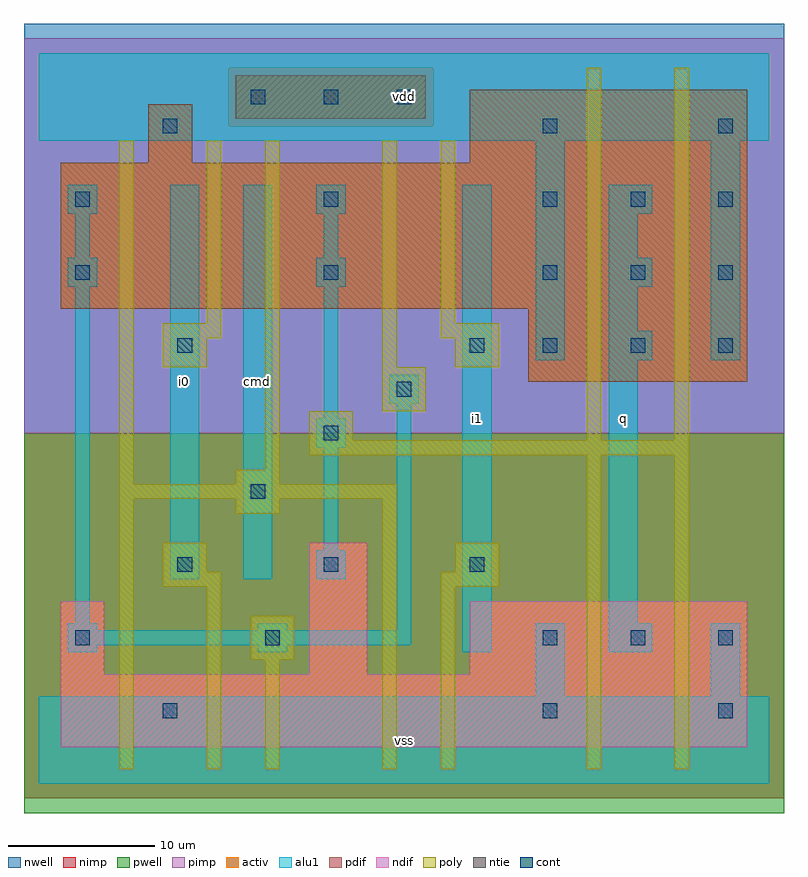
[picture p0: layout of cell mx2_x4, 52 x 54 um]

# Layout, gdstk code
import gdstk
lib = gdstk.Library(unit=1e-6, precision=1e-09)
def R(c, l, rs):  # rectangles x0, y0, x1, y1
    for r in rs: c.add(gdstk.rectangle(r[:2], r[2:], *l))
def A(c, l, x, y, w, h, nx, ny, dx, dy):  # array of equal rectangles
    R(c, l, [(x+i*dx, y+j*dy, x+i*dx+w, y+j*dy+h) for i in range(nx) for j in range(ny)])
ndif = (3, 0)
pdif = (4, 0)
ntie = (5, 0)
cont = (25, 0)
pwell = (41, 0)
nwell = (42, 0)
activ = (43, 0)
pimp = (44, 0)
nimp = (45, 0)
poly = (46, 0)
alu1 = (49, 0)

mx2_x4 = lib.new_cell('mx2_x4')
R(mx2_x4, ndif, [(1.5,2.5,48.5,7.5), (1.5,7.5,4.5,12.5), (18.5,7.5,22.5,16.5), (29.5,7.5,48.5,12.5)])
R(mx2_x4, pdif, [(33.5,27.5,48.5,32.5), (1.5,32.5,48.5,42.5), (7.5,42.5,10.5,46.5), (29.5,42.5,48.5,47.5)])
R(mx2_x4, ntie, [(13.5,45.5,26.5,48.5)])
A(mx2_x4, cont, 34.5, 9.5, 1, 1, 3, 2, 6, 20)
A(mx2_x4, cont, 9.5, 14.5, 1, 1, 3, 1, 10, 0)
A(mx2_x4, cont, 34.5, 34.5, 1, 1, 3, 2, 6, 5)
A(mx2_x4, cont, 14.5, 46.5, 1, 1, 3, 1, 5, 0)
R(mx2_x4, cont, [(8.5,4.5,9.5,5.5), (34.5,4.5,35.5,5.5), (46.5,4.5,47.5,5.5), (2.5,9.5,3.5,10.5), (15.5,9.5,16.5,10.5), (14.5,19.5,15.5,20.5), (19.5,23.5,20.5,24.5), (24.5,26.5,25.5,27.5), (9.5,29.5,10.5,30.5), (29.5,29.5,30.5,30.5), (2.5,34.5,3.5,35.5), (19.5,34.5,20.5,35.5), (2.5,39.5,3.5,40.5), (19.5,39.5,20.5,40.5), (8.5,44.5,9.5,45.5), (34.5,44.5,35.5,45.5), (46.5,44.5,47.5,45.5)])
R(mx2_x4, pwell, [(-1,-2,51,24)])
R(mx2_x4, nwell, [(-1,24,51,52)])
R(mx2_x4, activ, [(1.5,2.5,48.5,7.5), (1.5,7.5,4.5,12.5), (18.5,7.5,22.5,16.5), (29.5,7.5,48.5,12.5), (33.5,27.5,48.5,32.5), (1.5,32.5,48.5,42.5), (7.5,42.5,10.5,46.5), (29.5,42.5,48.5,47.5), (13.5,45.5,26.5,48.5)])
R(mx2_x4, pimp, [(-1,24,51,45), (-1,45,13,49), (27,45,51,49), (-1,49,51,51)])
R(mx2_x4, nimp, [(-1,-1,51,24), (13,45,27,49)])
R(mx2_x4, poly, [(5.5,1,6.5,19.5), (11.5,1,12.5,13.5), (15.5,1,16.5,8.5), (23.5,1,24.5,19.5), (27.5,1,28.5,13.5), (37.5,1,38.5,22.5), (43.5,1,44.5,22.5), (14.5,8.5,17.5,11.5), (8.5,13.5,12.5,14.5), (27.5,13.5,31.5,14.5), (8.5,14.5,11.5,16.5), (28.5,14.5,31.5,16.5), (13.5,18.5,16.5,19.5), (5.5,19.5,24.5,20.5), (5.5,20.5,6.5,44), (13.5,20.5,16.5,21.5), (15.5,21.5,16.5,44), (18.5,22.5,44.5,23.5), (18.5,23.5,21.5,25.5), (37.5,23.5,38.5,49), (43.5,23.5,44.5,49), (23.5,25.5,26.5,28.5), (8.5,28.5,11.5,30.5), (23.5,28.5,24.5,44), (28.5,28.5,31.5,30.5), (8.5,30.5,12.5,31.5), (27.5,30.5,31.5,31.5), (11.5,31.5,12.5,44), (27.5,31.5,28.5,44)])
A(mx2_x4, alu1, 39, 29, 3, 2, 1, 3, 0, 5)
R(mx2_x4, alu1, [(0,0,50,6), (34,6,36,11), (46,6,48,11), (2,9,4,9.5), (15,9,17,9.5), (29,9,31,41), (39,9,42,11), (2,9.5,25.5,10.5), (2,10.5,4,11), (15,10.5,17,11), (24.5,10.5,25.5,26), (2.5,11,3.5,34), (39,11,41,29), (9,14,11,41), (14,14,16,41), (19,14,21,16), (19.5,16,20.5,23), (19,23,21,25), (19.5,25,20.5,34), (24,26,26,28), (34,29,36,44), (46,29,48,44), (39,31,41,34), (2,34,4,36), (19,34,21,36), (2.5,36,3.5,39), (19.5,36,20.5,39), (39,36,41,39), (2,39,4,41), (19,39,21,41), (0,44,50,50)])
mx2_x4.add(gdstk.Label('i0', (10,27.5), layer=49, texttype=0))
mx2_x4.add(gdstk.Label('cmd', (15,27.5), layer=49, texttype=0))
mx2_x4.add(gdstk.Label('vss', (25,3), layer=49, texttype=0))
mx2_x4.add(gdstk.Label('i1', (30,25), layer=49, texttype=0))
mx2_x4.add(gdstk.Label('vdd', (25,47), layer=49, texttype=0))
mx2_x4.add(gdstk.Label('q', (40,25), layer=49, texttype=0))

lib.write_gds('mx2_x4.gds')
